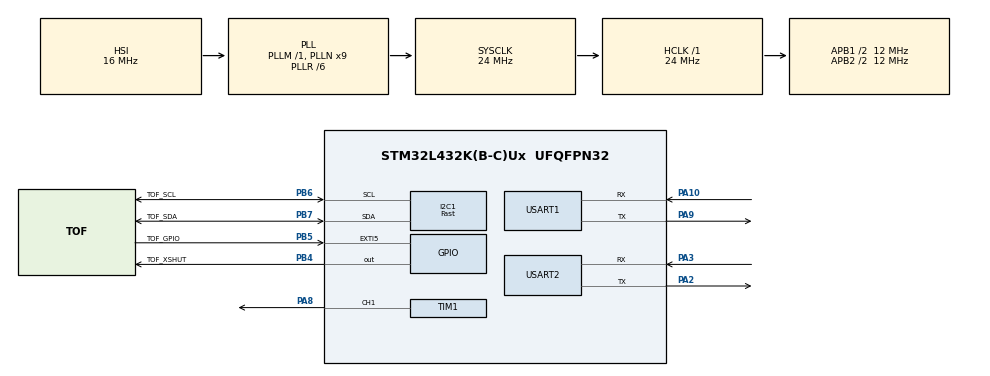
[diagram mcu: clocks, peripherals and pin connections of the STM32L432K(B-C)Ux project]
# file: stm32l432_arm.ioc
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Dma.Request0=USART2_RX
Dma.Request1=USART2_TX
Dma.USART2_RX.0.Direction=DMA_PERIPH_TO_MEMORY
Dma.USART2_RX.0.Instance=DMA1_Channel6
Dma.USART2_RX.0.MemDataAlignment=DMA_MDATAALIGN_BYTE
Dma.USART2_RX.0.MemInc=DMA_MINC_ENABLE
Dma.USART2_RX.0.Mode=DMA_NORMAL
Dma.USART2_RX.0.PeriphDataAlignment=DMA_PDATAALIGN_BYTE
Dma.USART2_RX.0.PeriphInc=DMA_PINC_DISABLE
Dma.USART2_RX.0.Priority=DMA_PRIORITY_MEDIUM
Dma.USART2_TX.1.Direction=DMA_MEMORY_TO_PERIPH
Dma.USART2_TX.1.Instance=DMA1_Channel7
Dma.USART2_TX.1.MemDataAlignment=DMA_MDATAALIGN_BYTE
Dma.USART2_TX.1.MemInc=DMA_MINC_ENABLE
Dma.USART2_TX.1.Mode=DMA_NORMAL
Dma.USART2_TX.1.PeriphDataAlignment=DMA_PDATAALIGN_BYTE
Dma.USART2_TX.1.PeriphInc=DMA_PINC_DISABLE
Dma.USART2_TX.1.Priority=DMA_PRIORITY_MEDIUM
I2C1.I2C_Speed_Mode=I2C_Fast
I2C1.Timing=0x00200410
IWDG.Prescaler=IWDG_PRESCALER_64
IWDG.Reload=3299
IWDG.Window=3299
Mcu.Family=STM32L4
Mcu.Name=STM32L432K(B-C)Ux
Mcu.Package=UFQFPN32
NVIC.DMA1_Channel6_IRQn=true\:0\:0\:false\:false\:true\:false\:true\:true
NVIC.DMA1_Channel7_IRQn=true\:0\:0\:false\:false\:true\:false\:true\:true
NVIC.EXTI9_5_IRQn=true\:0\:0\:false\:false\:true\:true\:true\:true
NVIC.PriorityGroup=NVIC_PRIORITYGROUP_4
NVIC.USART2_IRQn=true\:0\:0\:false\:false\:true\:false\:true\:true
PA10.GPIO_Speed=GPIO_SPEED_FREQ_HIGH
PA10.Mode=Asynchronous
PA10.Signal=USART1_RX
PA13\ (JTMS-SWDIO).Mode=Serial_Wire
PA13\ (JTMS-SWDIO).Signal=SYS_JTMS-SWDIO
PA14\ (JTCK-SWCLK).Mode=Serial_Wire
PA14\ (JTCK-SWCLK).Signal=SYS_JTCK-SWCLK
PA2.GPIO_Speed=GPIO_SPEED_FREQ_HIGH
PA2.Mode=Asynchronous
PA2.Signal=USART2_TX
PA3.GPIO_Speed=GPIO_SPEED_FREQ_HIGH
PA3.Mode=Asynchronous
PA3.Signal=USART2_RX
PA8.Signal=S_TIM1_CH1
PA9.GPIO_Speed=GPIO_SPEED_FREQ_HIGH
PA9.Mode=Asynchronous
PA9.Signal=USART1_TX
PB4\ (NJTRST).GPIO_Label=TOF_XSHUT
PB4\ (NJTRST).Signal=GPIO_Output
PB5.GPIO_Label=TOF_GPIO
PB5.GPIO_ModeDefaultEXTI=GPIO_MODE_IT_FALLING
PB5.GPIO_PuPd=GPIO_PULLUP
PB5.Signal=GPXTI5
PB6.GPIO_FM6=SYSCFG_FASTMODEPLUS_PB6
PB6.GPIO_Label=TOF_SCL
PB6.GPIO_Speed=GPIO_SPEED_FREQ_VERY_HIGH
PB6.Mode=I2C
PB6.Signal=I2C1_SCL
PB7.GPIO_FM7=SYSCFG_FASTMODEPLUS_PB7
PB7.GPIO_Label=TOF_SDA
PB7.Mode=I2C
PB7.Signal=I2C1_SDA
ProjectManager.HeapSize=0x200
ProjectManager.StackSize=0x400
ProjectManager.TargetToolchain=MDK-ARM V5.32
RCC.ADCFreq_Value=64000000
RCC.AHBFreq_Value=24000000
RCC.APB1CLKDivider=RCC_HCLK_DIV2
RCC.APB1Freq_Value=12000000
RCC.APB1TimFreq_Value=24000000
RCC.APB2CLKDivider=RCC_HCLK_DIV2
RCC.APB2Freq_Value=12000000
RCC.APB2TimFreq_Value=24000000
RCC.CortexFreq_Value=24000000
RCC.HCLKFreq_Value=24000000
RCC.HSE_VALUE=8000000
RCC.HSI48_VALUE=48000000
RCC.HSI_VALUE=16000000
RCC.LSE_VALUE=32768
RCC.MSIClockRange=RCC_MSIRANGE_9
RCC.MSI_VALUE=24000000
RCC.PLLN=9
RCC.PLLR=RCC_PLLR_DIV6
RCC.PLLSourceVirtual=RCC_PLLSOURCE_HSI
RCC.SYSCLKFreq_VALUE=24000000
RCC.SYSCLKSource=RCC_SYSCLKSOURCE_PLLCLK
RCC.USBFreq_Value=64000000
RCC.VCOOutputFreq_Value=144000000
SH.S_TIM1_CH1.0=TIM1_CH1,PWM Generation1 CH1
TIM1.Channel-PWM\ Generation1\ CH1=TIM_CHANNEL_1
TIM1.Period=20000
TIM1.Prescaler=23
USART1.VirtualMode-Asynchronous=VM_ASYNC
USART2.VirtualMode-Asynchronous=VM_ASYNC
VP_IWDG_VS_IWDG.Mode=IWDG_Activate
board=custom

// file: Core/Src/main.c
/* USER CODE BEGIN Header */
/**
 ******************************************************************************
 * @file           : main.c
 * @brief          : Main program body
 ******************************************************************************
 * @attention
 *
 * Copyright (c) 2025 STMicroelectronics.
 * All rights reserved.
 *
 * This software is licensed under terms that can be found in the LICENSE file
 * in the root directory of this software component.
 * If no LICENSE file comes with this software, it is provided AS-IS.
 *
 ******************************************************************************
 */
/* USER CODE END Header */
#include "main.h"

/* USER CODE BEGIN Includes */
#include <stdio.h>
#include <string.h>
#include <stdlib.h>
#include <stdbool.h>
#include <math.h>
#include "stm32l4xx.h"

// file for robot arm
#include "bus_servo_driver.h"
#include "kinematic.h"
// file for vl53l1x sensor
#include "vl53l1_platform.h"
#include "VL53L1X_api.h"
#include "filters.h"

/* USER CODE END Includes */

/* USER CODE BEGIN PD */
// define actions received from rasp
#define START_GRIP     (0x30)
#define SEND_DATA      (0x33)
#define NONE           (0x34)
#define RELEASE_OBJECT (0x36)
#define IN_PROGRESS    (0x38)

// define ID data for uart2 (stm <--> rasp)
#define ID_DISTANCE (uint8_t)(0xB1)

/* USER CODE END PD */

I2C_HandleTypeDef hi2c1;

IWDG_HandleTypeDef hiwdg;

TIM_HandleTypeDef htim1;

UART_HandleTypeDef huart1;
UART_HandleTypeDef huart2;
DMA_HandleTypeDef  hdma_usart2_rx;
DMA_HandleTypeDef  hdma_usart2_tx;

void        SystemClock_Config(void);
static void MX_GPIO_Init(void);
static void MX_DMA_Init(void);
static void MX_I2C1_Init(void);
static void MX_TIM1_Init(void);
static void MX_USART1_UART_Init(void);
static void MX_USART2_UART_Init(void);
static void MX_IWDG_Init(void);
/* USER CODE BEGIN PFP */
void compute_target_coordinates(float  t1,
                                float  t2,
                                float  t3,
                                float  t4,
                                float  distance,
                                float *x,
                                float *y,
                                float *z)
{
  t1 = DEG_TO_RAD(t1);
  t2 = DEG_TO_RAD(t2);
  t3 = DEG_TO_RAD(t3);
  t4 = DEG_TO_RAD(t4);

  float temp_x = cosf(t1) * (120 * cosf(t2 + t3 + t4) + 190 * cosf(t2 + t3) + 155 * cosf(t2) + 22) +
                 (distance - 35) * cosf(t1);
  float temp_y = sinf(t1) * (120 * cosf(t2 + t3 + t4) + 190 * cosf(t2 + t3) + 155 * cosf(t2) + 22) +
                 (distance - 35) * sinf(t1);
  float temp_z = 120.0f * sinf(t2 + t3 + t4) + 190.0f * sinf(t2 + t3) + 155.0f * sinf(t2) + 57.45f;

  if (isnan(temp_x) || isnan(temp_y) || isnan(temp_z))
  {
    *x = 380;
    *y = 0;
    *z = 212.45;
  }
  else
  {
    *x = temp_x;
    *y = temp_y;
    *z = temp_z;
  }
}

void compute_target_coordinates_1(float  t1,
                                  float  t2,
                                  float  t3,
                                  float  t4,
                                  float  distance,
                                  float *x_t,
                                  float *y_t,
                                  float *z_t,
                                  float *x_g,
                                  float *y_g,
                                  float *z_g)
{
  t1 = DEG_TO_RAD(t1);
  t2 = DEG_TO_RAD(t2);
  t3 = DEG_TO_RAD(t3);
  t4 = DEG_TO_RAD(t4);

  float X = cosf(t1) * (120 * cosf(t2 + t3 + t4) + 190 * cosf(t2 + t3) + 155 * cosf(t2) + 22);
  float Y = sinf(t1) * (120 * cosf(t2 + t3 + t4) + 190 * cosf(t2 + t3) + 155 * cosf(t2) + 22);
  float Z = 120 * sinf(t2 + t3 + t4) + 190 * sinf(t2 + t3) + 155 * sinf(t2) + 57.45;
  *x_g    = X;
  *y_g    = Y;
  *z_g    = Z;

  float theta = t1;
  float elev  = t2 + t3 + t4;

  float dx = (distance - 25.0f) * cosf(elev) * cosf(theta);
  float dy = (distance - 25.0f) * cosf(elev) * sinf(theta);
  float dz = (distance - 25.0f) * sinf(elev);

  float temp_x = X + dx;
  float temp_y = Y + dy;
  float temp_z = Z + dz;

  if (isnan(temp_x) || isnan(temp_y) || isnan(temp_z))
  {
    *x_t = 380;
    *y_t = 0;
    *z_t = 212.45;
  }
  else
  {
    *x_t = temp_x;
    *y_t = temp_y;
    *z_t = temp_z;
  }
}

uint8_t to_straight_position(void)
{
  struct_result_t p1, p2, p3, p4;

  if (SerialServoReadPosition(&huart1, 1, &p1) != READ_OK)
    return 1;
  if (SerialServoReadPosition(&huart1, 2, &p2) != READ_OK)
    return 2;
  if (SerialServoReadPosition(&huart1, 3, &p3) != READ_OK)
    return 3;
  if (SerialServoReadPosition(&huart1, 4, &p4) != READ_OK)
    return 4;

  float delta1 = fabsf((float)(480 - p1.returned_result));
  float delta2 = fabsf((float)(1000 - p2.returned_result));
  float delta3 = fabsf((float)(0 - p3.returned_result));
  float delta4 = fabsf((float)(500 - p4.returned_result));

  float    max_delta = fmaxf(fmaxf(delta1, delta2), fmaxf(delta3, delta4));
  uint16_t move_time = (uint16_t)(max_delta / 0.18f);
  if (move_time < 1800)
    move_time = 1800;

  if (SerialServoMove(&huart1, 2, 1000, move_time) != SET_OK)
    return 6;
  HAL_Delay(5);
  if (SerialServoMove(&huart1, 3, 0, move_time) != SET_OK)
    return 7;
  HAL_Delay(5);
  if (SerialServoMove(&huart1, 4, 500, move_time) != SET_OK)
    return 8;
  HAL_Delay(5);
  if (SerialServoMove(&huart1, 1, 480, move_time) != SET_OK)
    return 5;
  HAL_Delay(5);

  return 9;
}

uint8_t to_ready_position_1(void)
{
  float           required_moving_time = 0;
  uint16_t        moving_time          = 0;
  struct_result_t position1, position2, position3, position4;

  if (SerialServoReadPosition(&huart1, 3, &position3) != READ_OK)
    return 0;
  required_moving_time = (620 - position3.returned_result) / 0.1;
  moving_time          = convert_to_absolute_int(required_moving_time);
  if (SerialServoMove(&huart1, 3, 620, moving_time) != SET_OK)
    return 2;
  HAL_Delay(moving_time);

  if (SerialServoReadPosition(&huart1, 2, &position2) != READ_OK)
    return 3;
  required_moving_time = (520 - position2.returned_result) / 0.1;
  moving_time          = convert_to_absolute_int(required_moving_time);
  if (SerialServoMove(&huart1, 2, 520, moving_time) != SET_OK)
    return 4;
  HAL_Delay(20);

  if (SerialServoReadPosition(&huart1, 4, &position4) != READ_OK)
    return 5;
  required_moving_time = (450 - position4.returned_result) / 0.1;
  moving_time          = convert_to_absolute_int(required_moving_time);
  if (SerialServoMove(&huart1, 4, 450, moving_time) != SET_OK)
    return 6;
  HAL_Delay(moving_time);

  if (SerialServoReadPosition(&huart1, 1, &position1) != READ_OK)
    return 7;
  required_moving_time = (450 - position1.returned_result) / 0.1;
  moving_time          = convert_to_absolute_int(required_moving_time);
  if (SerialServoMove(&huart1, 1, 450, moving_time) != SET_OK)
    return 8;
  HAL_Delay(moving_time);

  return 1;
}

static inline void open_gripper(void)
{
  __HAL_TIM_SET_COMPARE(&htim1, TIM_CHANNEL_1, 500);
}

static inline void close_gripper(void)
{
  __HAL_TIM_SET_COMPARE(&htim1, TIM_CHANNEL_1, 1580);
}

/**
 * @brief This function process data into a package to transmit
 */
void send_data_with_id(uint8_t id, float value);

/*
return 1: OK
return 0: FAILED
*/
uint8_t to_folded_position(void);

/*
return 1: OK
return 0: FAILED
*/
uint8_t to_ready_position(void);

/*
return 9: OK
return 1 --> 8: FAILED
*/
uint8_t to_home_position(void);

/*
return 9: OK
return 1 --> 8: FAILED
*/
uint8_t to_moving_position(void);

/*
 soft reset system
*/
void soft_reset(void);

/*
 read all joint variables
 return 0: failed (if any joint cannot be read
 return 1: ok
*/
uint8_t read_joint_variables(float    *t1,
                             float    *t2,
                             float    *t3,
                             float    *t4,
                             uint16_t *p1,
                             uint16_t *p2,
                             uint16_t *p3,
                             uint16_t *p4);

/*
 reset vl53l1x
*/
void reset_tof_sensor(void);

/* USER CODE END PFP */

/* USER CODE BEGIN 0 */
// FILE __stdout;
int fputc(int ch, FILE *f)
{
  HAL_UART_Transmit(&huart2, (uint8_t *)&ch, 1, 3000);
  return ch;
}

//========================= variables for robot arm ==========================//
// 4 joint variables and servo positions of robot arm
float    theta_1 = 0;
float    theta_2 = 0;
float    theta_3 = 0;
float    theta_4 = 0;
uint16_t pos1    = 0;
uint16_t pos2    = 0;
uint16_t pos3    = 0;
uint16_t pos4    = 0;

// status of reading joints function
uint8_t read_joints_status = 0;

// coordinates of target
float x_gripper = 0;
float y_gripper = 0;
float z_gripper = 0;
// coordinates of target
float x_target = 0;
float y_target = 0;
float z_target = 0;

//========================= variables for vl53l1x ===========================//
uint8_t  status            = 0;  // common status
uint8_t  range_status      = 0;  // common status
uint16_t measured_distance = 0;
bool     distance_updated  = false;

//======== variables to transmit and receive uart data with raspberry and bus servo ========//
uint8_t          received_data_from_rasp[2];
uint8_t          required_action     = NONE;
bool             request_reset       = false;
volatile uint8_t uart_rasp_done_flag = 0;

//============================= debug variables ===============================//
struct_required_angle_t destination_angle;
uint16_t                retry             = 0;
uint8_t                 read_joint_cnt    = 0;
uint8_t                 read_distance_cnt = 0;
uint8_t                 ready_status      = 20;
struct_range_t          AngleRange;
/* USER CODE END 0 */

int main(void)
{

  /* MCU Configuration--------------------------------------------------------*/

  /* Reset of all peripherals, Initializes the Flash interface and the Systick. */
  HAL_Init();

  /* Configure the system clock */
  SystemClock_Config();

  /* Initialize all configured peripherals */
  MX_GPIO_Init();
  MX_DMA_Init();
  MX_I2C1_Init();
  MX_TIM1_Init();
  MX_USART1_UART_Init();
  MX_USART2_UART_Init();
  // MX_IWDG_Init();
  /* USER CODE BEGIN 2 */
  //==================== initiate timer 1 channel 1 to control gripper ======================//
  HAL_TIM_PWM_Start(&htim1, TIM_CHANNEL_1);
  // test gripper
  open_gripper();
  HAL_Delay(300);
  close_gripper();
  HAL_Delay(300);
  open_gripper();
  HAL_Delay(300);

  //=================== interrupt uart for to receive comamnd from raspberry ================//
  HAL_UARTEx_ReceiveToIdle_DMA(&huart2, received_data_from_rasp, sizeof(received_data_from_rasp));
  __HAL_DMA_DISABLE_IT(&hdma_usart2_rx, DMA_IT_HT);

  //======================= initial actions for sensor and robot arm ========================//
  // VL53L1X init
  vl53l1x_assignI2C(&hi2c1);
  VL53L1__Init();
  VL53L1X_StartRanging(VL53L1__ADDR);

  // return to folded position
  to_folded_position();
  //	HAL_Delay(5000);
  //	SerialServoReadAngleRange(&huart1, 2, &AngleRange);

  /* USER CODE END 2 */

  /* Infinite loop */
  while (1)
  {

    /* USER CODE BEGIN 3 */
    //============================== CONTROL ROBOT ARM ====================================//
    // if raspberry request srm reset itself
    if (request_reset == true)
      soft_reset();

    // if raspberry asks distance value
    if (required_action == SEND_DATA)
    {
      send_data_with_id(ID_DISTANCE, measured_distance);
      required_action = NONE;
    }

    // if raspberry request to release object
    else if (required_action == RELEASE_OBJECT)
    {
      static uint8_t  release_state = 0;
      static uint32_t release_time  = 0;
      switch (release_state)
      {
      case 0:
        to_home_position();
        release_time  = HAL_GetTick();
        release_state = 1;
        break;

      case 1:
        if (HAL_GetTick() - release_time >= 2300)
        {
          open_gripper();
          release_time  = HAL_GetTick();
          release_state = 2;
        }
        break;

      case 2:
        if (HAL_GetTick() - release_time >= 20)
        {
          uint8_t buffer[2] = {0xCC, 0x04};
          HAL_UART_Transmit_DMA(&huart2, buffer, sizeof(buffer));
          to_folded_position();
          required_action = NONE;
          release_state   = 0;  // reset
        }
        break;
      }
    }

    // if raspberry request to grip object (from folded position)
    else if (required_action == START_GRIP)
    {
      static uint32_t grip_start_time = 0;
      static uint8_t  grip_state      = 0;
      if (grip_state == 0)
      {
        open_gripper();
        ready_status = to_ready_position();
        // ready_status = to_ready_position_1();
        grip_start_time = HAL_GetTick();
        grip_state      = 1;
      }
      if (grip_state == 1)
      {
        if (HAL_GetTick() - grip_start_time >= 4800)
        {
          grip_start_time = HAL_GetTick();
          grip_state      = 2;
        }
      }
      if (grip_state == 2)
      {
        if (HAL_GetTick() - grip_start_time >= 200)
        {
          required_action = IN_PROGRESS;
          grip_state      = 0;
        }
      }
    }

    // robot arm is processing, and will inform result to raspberry
    else if (required_action == IN_PROGRESS)
    {
      static uint8_t  in_progress_state = 0;
      static uint32_t in_progress_time  = 0;

      switch (in_progress_state)
      {
      case 0:
        in_progress_time   = HAL_GetTick();
        retry              = 0;
        read_joint_cnt     = 0;
        read_distance_cnt  = 0;
        read_joints_status = 0;
        in_progress_state  = 1;
        break;
      case 1:
        if (read_joints_status == 0)
        {
          read_joints_status =
            read_joint_variables(&theta_1, &theta_2, &theta_3, &theta_4, &pos1, &pos2, &pos3, &pos4);
          read_joint_cnt++;
        }
        if ((read_joints_status == 1) && distance_updated)
        {
          read_distance_cnt++;
          distance_updated = false;
          if ((measured_distance >= 15) && (measured_distance <= 215))
          {
            compute_target_coordinates(theta_1,
                                       theta_2,
                                       theta_3,
                                       theta_4,
                                       measured_distance,
                                       &x_target,
                                       &y_target,
                                       &z_target);
            // compute_target_coordinates_1(theta_1, theta_2, theta_3, theta_4, measured_distance, &x_target,
            // &y_target, &z_target, &x_gripper, &y_gripper, &z_gripper);
            if ((x_target >= 225) && (x_target <= 460) && (y_target >= -65) && (y_target <= 65) &&
                (z_target >= -130) && (z_target <= 250))
            {
              inverse_kinematic(x_target, y_target, z_target, pos1, pos2, pos3, pos4, &destination_angle);
              // inverse(x_target, y_target, z_target, theta_2, theta_3, theta_4, &destination_angle);
              in_progress_time  = HAL_GetTick();
              in_progress_state = 2;
            }
          }
        }
        if (HAL_GetTick() - in_progress_time > 5500)
        {
          if (read_joint_cnt >= 10)
          {
            uint8_t buffer[2] = {0xCC, 0x02};  // inform to rasp: cannot read joints
            HAL_UART_Transmit_DMA(&huart2, buffer, sizeof(buffer));
          }
          if (read_distance_cnt >= 10)
          {
            uint8_t buffer[2] = {0xCC, 0x03};  // inform to rasp: cannot read distance or it is invalid
            HAL_UART_Transmit_DMA(&huart2, buffer, sizeof(buffer));
          }
          required_action = NONE;
          to_folded_position();
          in_progress_state  = 0;
          read_joints_status = 0;
          read_joint_cnt     = 0;
          read_distance_cnt  = 0;
          // soft_reset();
        }
        break;
      case 2:
        if (HAL_GetTick() - in_progress_time >= 20)
        {
          close_gripper();
          in_progress_time  = HAL_GetTick();
          in_progress_state = 3;
        }
        break;
      case 3:
        if (HAL_GetTick() - in_progress_time >= 250)
        {
          to_moving_position();
          // to_straight_position();

          // inform to rasp that processing done, continue to move
          uint8_t buffer[2] = {0xCC, 0x01};
          HAL_UART_Transmit_DMA(&huart2, buffer, sizeof(buffer));
          // reset all variables
          required_action    = NONE;
          in_progress_state  = 0;
          read_joints_status = 0;
          read_joint_cnt     = 0;
          read_distance_cnt  = 0;
        }
        break;
      }
    }

    // reset indepedent window watchdog timer (timeout = 4.5s)
    // HAL_IWDG_Refresh(&hiwdg);
  }
  /* USER CODE END 3 */
}

void SystemClock_Config(void)
{
  RCC_OscInitTypeDef RCC_OscInitStruct = {0};
  RCC_ClkInitTypeDef RCC_ClkInitStruct = {0};

  /** Configure the main internal regulator output voltage
   */
  if (HAL_PWREx_ControlVoltageScaling(PWR_REGULATOR_VOLTAGE_SCALE1) != HAL_OK)
  {
    Error_Handler();
  }

  /** Initializes the RCC Oscillators according to the specified parameters
   * in the RCC_OscInitTypeDef structure.
   */
  RCC_OscInitStruct.OscillatorType      = RCC_OSCILLATORTYPE_HSI | RCC_OSCILLATORTYPE_LSI;
  RCC_OscInitStruct.HSIState            = RCC_HSI_ON;
  RCC_OscInitStruct.HSICalibrationValue = RCC_HSICALIBRATION_DEFAULT;
  RCC_OscInitStruct.LSIState            = RCC_LSI_ON;
  RCC_OscInitStruct.PLL.PLLState        = RCC_PLL_ON;
  RCC_OscInitStruct.PLL.PLLSource       = RCC_PLLSOURCE_HSI;
  RCC_OscInitStruct.PLL.PLLM            = 1;
  RCC_OscInitStruct.PLL.PLLN            = 9;
  RCC_OscInitStruct.PLL.PLLP            = RCC_PLLP_DIV7;
  RCC_OscInitStruct.PLL.PLLQ            = RCC_PLLQ_DIV2;
  RCC_OscInitStruct.PLL.PLLR            = RCC_PLLR_DIV6;
  if (HAL_RCC_OscConfig(&RCC_OscInitStruct) != HAL_OK)
  {
    Error_Handler();
  }

  /** Initializes the CPU, AHB and APB buses clocks
   */
  RCC_ClkInitStruct.ClockType =
    RCC_CLOCKTYPE_HCLK | RCC_CLOCKTYPE_SYSCLK | RCC_CLOCKTYPE_PCLK1 | RCC_CLOCKTYPE_PCLK2;
  RCC_ClkInitStruct.SYSCLKSource   = RCC_SYSCLKSOURCE_PLLCLK;
  RCC_ClkInitStruct.AHBCLKDivider  = RCC_SYSCLK_DIV1;
  RCC_ClkInitStruct.APB1CLKDivider = RCC_HCLK_DIV2;
  RCC_ClkInitStruct.APB2CLKDivider = RCC_HCLK_DIV2;

  if (HAL_RCC_ClockConfig(&RCC_ClkInitStruct, FLASH_LATENCY_1) != HAL_OK)
  {
    Error_Handler();
  }
}

static void MX_I2C1_Init(void)
{

  hi2c1.Instance              = I2C1;
  hi2c1.Init.Timing           = 0x00200410;
  hi2c1.Init.OwnAddress1      = 0;
  hi2c1.Init.AddressingMode   = I2C_ADDRESSINGMODE_7BIT;
  hi2c1.Init.DualAddressMode  = I2C_DUALADDRESS_DISABLE;
  hi2c1.Init.OwnAddress2      = 0;
  hi2c1.Init.OwnAddress2Masks = I2C_OA2_NOMASK;
  hi2c1.Init.GeneralCallMode  = I2C_GENERALCALL_DISABLE;
  hi2c1.Init.NoStretchMode    = I2C_NOSTRETCH_DISABLE;
  if (HAL_I2C_Init(&hi2c1) != HAL_OK)
  {
    Error_Handler();
  }

  /** Configure Analogue filter
   */
  if (HAL_I2CEx_ConfigAnalogFilter(&hi2c1, I2C_ANALOGFILTER_ENABLE) != HAL_OK)
  {
    Error_Handler();
  }

  /** Configure Digital filter
   */
  if (HAL_I2CEx_ConfigDigitalFilter(&hi2c1, 0) != HAL_OK)
  {
    Error_Handler();
  }
}

static void MX_IWDG_Init(void)
{

  hiwdg.Instance       = IWDG;
  hiwdg.Init.Prescaler = IWDG_PRESCALER_64;
  hiwdg.Init.Window    = 3299;
  hiwdg.Init.Reload    = 3299;
  if (HAL_IWDG_Init(&hiwdg) != HAL_OK)
  {
    Error_Handler();
  }
}

static void MX_TIM1_Init(void)
{

  TIM_MasterConfigTypeDef        sMasterConfig        = {0};
  TIM_OC_InitTypeDef             sConfigOC            = {0};
  TIM_BreakDeadTimeConfigTypeDef sBreakDeadTimeConfig = {0};

  htim1.Instance               = TIM1;
  htim1.Init.Prescaler         = 23;
  htim1.Init.CounterMode       = TIM_COUNTERMODE_UP;
  htim1.Init.Period            = 20000;
  htim1.Init.ClockDivision     = TIM_CLOCKDIVISION_DIV1;
  htim1.Init.RepetitionCounter = 0;
  htim1.Init.AutoReloadPreload = TIM_AUTORELOAD_PRELOAD_DISABLE;
  if (HAL_TIM_PWM_Init(&htim1) != HAL_OK)
  {
    Error_Handler();
  }
  sMasterConfig.MasterOutputTrigger  = TIM_TRGO_RESET;
  sMasterConfig.MasterOutputTrigger2 = TIM_TRGO2_RESET;
  sMasterConfig.MasterSlaveMode      = TIM_MASTERSLAVEMODE_DISABLE;
  if (HAL_TIMEx_MasterConfigSynchronization(&htim1, &sMasterConfig) != HAL_OK)
  {
    Error_Handler();
  }
  sConfigOC.OCMode       = TIM_OCMODE_PWM1;
  sConfigOC.Pulse        = 0;
  sConfigOC.OCPolarity   = TIM_OCPOLARITY_HIGH;
  sConfigOC.OCNPolarity  = TIM_OCNPOLARITY_HIGH;
  sConfigOC.OCFastMode   = TIM_OCFAST_DISABLE;
  sConfigOC.OCIdleState  = TIM_OCIDLESTATE_RESET;
  sConfigOC.OCNIdleState = TIM_OCNIDLESTATE_RESET;
  if (HAL_TIM_PWM_ConfigChannel(&htim1, &sConfigOC, TIM_CHANNEL_1) != HAL_OK)
  {
    Error_Handler();
  }
  sBreakDeadTimeConfig.OffStateRunMode  = TIM_OSSR_DISABLE;
  sBreakDeadTimeConfig.OffStateIDLEMode = TIM_OSSI_DISABLE;
  sBreakDeadTimeConfig.LockLevel        = TIM_LOCKLEVEL_OFF;
  sBreakDeadTimeConfig.DeadTime         = 0;
  sBreakDeadTimeConfig.BreakState       = TIM_BREAK_DISABLE;
  sBreakDeadTimeConfig.BreakPolarity    = TIM_BREAKPOLARITY_HIGH;
  sBreakDeadTimeConfig.BreakFilter      = 0;
  sBreakDeadTimeConfig.Break2State      = TIM_BREAK2_DISABLE;
  sBreakDeadTimeConfig.Break2Polarity   = TIM_BREAK2POLARITY_HIGH;
  sBreakDeadTimeConfig.Break2Filter     = 0;
  sBreakDeadTimeConfig.AutomaticOutput  = TIM_AUTOMATICOUTPUT_DISABLE;
  if (HAL_TIMEx_ConfigBreakDeadTime(&htim1, &sBreakDeadTimeConfig) != HAL_OK)
  {
    Error_Handler();
  }
  HAL_TIM_MspPostInit(&htim1);
}

static void MX_USART1_UART_Init(void)
{

  huart1.Instance                    = USART1;
  huart1.Init.BaudRate               = 115200;
  huart1.Init.WordLength             = UART_WORDLENGTH_8B;
  huart1.Init.StopBits               = UART_STOPBITS_1;
  huart1.Init.Parity                 = UART_PARITY_NONE;
  huart1.Init.Mode                   = UART_MODE_TX_RX;
  huart1.Init.HwFlowCtl              = UART_HWCONTROL_NONE;
  huart1.Init.OverSampling           = UART_OVERSAMPLING_16;
  huart1.Init.OneBitSampling         = UART_ONE_BIT_SAMPLE_DISABLE;
  huart1.AdvancedInit.AdvFeatureInit = UART_ADVFEATURE_NO_INIT;
  if (HAL_UART_Init(&huart1) != HAL_OK)
  {
    Error_Handler();
  }
}

static void MX_USART2_UART_Init(void)
{

  huart2.Instance                    = USART2;
  huart2.Init.BaudRate               = 115200;
  huart2.Init.WordLength             = UART_WORDLENGTH_8B;
  huart2.Init.StopBits               = UART_STOPBITS_1;
  huart2.Init.Parity                 = UART_PARITY_NONE;
  huart2.Init.Mode                   = UART_MODE_TX_RX;
  huart2.Init.HwFlowCtl              = UART_HWCONTROL_NONE;
  huart2.Init.OverSampling           = UART_OVERSAMPLING_16;
  huart2.Init.OneBitSampling         = UART_ONE_BIT_SAMPLE_DISABLE;
  huart2.AdvancedInit.AdvFeatureInit = UART_ADVFEATURE_NO_INIT;
  if (HAL_UART_Init(&huart2) != HAL_OK)
  {
    Error_Handler();
  }
}

static void MX_DMA_Init(void)
{

  /* DMA controller clock enable */
  __HAL_RCC_DMA1_CLK_ENABLE();

  /* DMA interrupt init */
  /* DMA1_Channel6_IRQn interrupt configuration */
  HAL_NVIC_SetPriority(DMA1_Channel6_IRQn, 0, 0);
  HAL_NVIC_EnableIRQ(DMA1_Channel6_IRQn);
  /* DMA1_Channel7_IRQn interrupt configuration */
  HAL_NVIC_SetPriority(DMA1_Channel7_IRQn, 0, 0);
  HAL_NVIC_EnableIRQ(DMA1_Channel7_IRQn);
}

static void MX_GPIO_Init(void)
{
  GPIO_InitTypeDef GPIO_InitStruct = {0};

  /* GPIO Ports Clock Enable */
  __HAL_RCC_GPIOC_CLK_ENABLE();
  __HAL_RCC_GPIOA_CLK_ENABLE();
  __HAL_RCC_GPIOB_CLK_ENABLE();
  __HAL_RCC_GPIOH_CLK_ENABLE();

  /*Configure GPIO pin Output Level */
  HAL_GPIO_WritePin(TOF_XSHUT_GPIO_Port, TOF_XSHUT_Pin, GPIO_PIN_RESET);

  /*Configure GPIO pins : PC14 PC15 */
  GPIO_InitStruct.Pin  = GPIO_PIN_14 | GPIO_PIN_15;
  GPIO_InitStruct.Mode = GPIO_MODE_ANALOG;
  GPIO_InitStruct.Pull = GPIO_NOPULL;
  HAL_GPIO_Init(GPIOC, &GPIO_InitStruct);

  /*Configure GPIO pins : PA0 PA1 PA4 PA5
                           PA6 PA7 PA11 PA12
                           PA15 */
  GPIO_InitStruct.Pin = GPIO_PIN_0 | GPIO_PIN_1 | GPIO_PIN_4 | GPIO_PIN_5 | GPIO_PIN_6 | GPIO_PIN_7 |
                        GPIO_PIN_11 | GPIO_PIN_12 | GPIO_PIN_15;
  GPIO_InitStruct.Mode = GPIO_MODE_ANALOG;
  GPIO_InitStruct.Pull = GPIO_NOPULL;
  HAL_GPIO_Init(GPIOA, &GPIO_InitStruct);

  /*Configure GPIO pins : PB0 PB1 PB3 */
  GPIO_InitStruct.Pin  = GPIO_PIN_0 | GPIO_PIN_1 | GPIO_PIN_3;
  GPIO_InitStruct.Mode = GPIO_MODE_ANALOG;
  GPIO_InitStruct.Pull = GPIO_NOPULL;
  HAL_GPIO_Init(GPIOB, &GPIO_InitStruct);

  /*Configure GPIO pin : TOF_XSHUT_Pin */
  GPIO_InitStruct.Pin   = TOF_XSHUT_Pin;
  GPIO_InitStruct.Mode  = GPIO_MODE_OUTPUT_PP;
  GPIO_InitStruct.Pull  = GPIO_NOPULL;
  GPIO_InitStruct.Speed = GPIO_SPEED_FREQ_LOW;
  HAL_GPIO_Init(TOF_XSHUT_GPIO_Port, &GPIO_InitStruct);

  /*Configure GPIO pin : TOF_GPIO_Pin */
  GPIO_InitStruct.Pin  = TOF_GPIO_Pin;
  GPIO_InitStruct.Mode = GPIO_MODE_IT_FALLING;
  GPIO_InitStruct.Pull = GPIO_PULLUP;
  HAL_GPIO_Init(TOF_GPIO_GPIO_Port, &GPIO_InitStruct);

  /*Configure GPIO pin : PH3 */
  GPIO_InitStruct.Pin  = GPIO_PIN_3;
  GPIO_InitStruct.Mode = GPIO_MODE_ANALOG;
  GPIO_InitStruct.Pull = GPIO_NOPULL;
  HAL_GPIO_Init(GPIOH, &GPIO_InitStruct);

  /* EXTI interrupt init*/
  HAL_NVIC_SetPriority(EXTI9_5_IRQn, 0, 0);
  HAL_NVIC_EnableIRQ(EXTI9_5_IRQn);

}

/* USER CODE BEGIN 4 */
/**
 * @brief This function handles EXTI line[9:5] interrupts. Using this function to read signal from interrupt
 * pin of sensor
 */
void EXTI9_5_IRQHandler(void)
{
  status |= VL53L1X_GetRangeStatus(VL53L1__ADDR, &range_status);
  if (range_status > VL53L1__RANGE_STATUS_THRESH)  // VL53L1__RANGE_STATUS_THRESH
  {
    status |= VL53L1X_ClearInterrupt(
      VL53L1__ADDR);  // non acceptable range status, reset for a new ranging notification
  }
  else
  {
    status |= VL53L1X_GetDistance(VL53L1__ADDR, &measured_distance);
    distance_updated = true;
    status |= VL53L1X_ClearInterrupt(VL53L1__ADDR);  // Everything read. Restart interrupt
  }
  HAL_GPIO_EXTI_IRQHandler(TOF_GPIO_Pin);
}

/**
 * @brief This function handles data from higher board, which reads camera, to decide the next action for
 * robot arm.
 */
void HAL_UARTEx_RxEventCallback(UART_HandleTypeDef *huart, uint16_t Size)
{
  if (huart->Instance == USART2)
  {
    switch (received_data_from_rasp[0])
    {
    case 0xBB:
      if (Size == 2)
      {
        switch (received_data_from_rasp[1])
        {
        case 0x04:
          required_action = SEND_DATA;
          break;
        case 0x05:
          required_action = START_GRIP;
          break;
        case 0x06:
          required_action = RELEASE_OBJECT;
          break;
        }
        break;
      }
    case 0xFF:
      request_reset = true;
      break;
    default:
      break;
    }

    HAL_UARTEx_ReceiveToIdle_DMA(&huart2, received_data_from_rasp, sizeof(received_data_from_rasp));
    __HAL_DMA_DISABLE_IT(&hdma_usart2_rx, DMA_IT_HT);
  }
}

void HAL_UART_ErrorCallback(UART_HandleTypeDef *huart)
{
  if (huart->Instance == USART2)
  {
    __HAL_UART_CLEAR_OREFLAG(huart);
    __HAL_UART_CLEAR_FEFLAG(huart);
    __HAL_UART_CLEAR_NEFLAG(huart);
    HAL_UARTEx_ReceiveToIdle_DMA(&huart2, received_data_from_rasp, sizeof(received_data_from_rasp));
    __HAL_DMA_DISABLE_IT(&hdma_usart2_rx, DMA_IT_HT);
  }
}

/**
 * @brief This function handles USART transmit DMA complete
 */
void HAL_UART_TxCpltCallback(UART_HandleTypeDef *huart)
{
  if (huart->Instance == USART1)
  {
    // uart communicate with bus servo
  }
  if (huart->Instance == USART2)
  {
    // uart communicate with raspberry
    uart_rasp_done_flag = 1;
  }
}

uint8_t to_folded_position(void)
{
  struct_result_t p1, p2, p3, p4;

  if (SerialServoReadPosition(&huart1, 1, &p1) != READ_OK)
    return 1;
  if (SerialServoReadPosition(&huart1, 2, &p2) != READ_OK)
    return 2;
  if (SerialServoReadPosition(&huart1, 3, &p3) != READ_OK)
    return 3;
  if (SerialServoReadPosition(&huart1, 4, &p4) != READ_OK)
    return 4;

  float time1 = fabsf((float)(855 - p1.returned_result)) / 0.15f;
  float time2 = fabsf((float)(275 - p2.returned_result)) / 0.15f;
  float time3 = fabsf((float)(750 - p3.returned_result)) / 0.15f;
  float time4 = fabsf((float)(500 - p4.returned_result)) / 0.15f;

  if (SerialServoMove(&huart1, 1, 855, (uint16_t)time1) != SET_OK)
    return 5;
  HAL_Delay((uint16_t)time1);
  if (SerialServoMove(&huart1, 2, 275, (uint16_t)time2) != SET_OK)
    return 6;
  HAL_Delay((uint16_t)time2);
  if (SerialServoMove(&huart1, 4, 500, (uint16_t)time4) != SET_OK)
    return 8;
  HAL_Delay((uint16_t)time4);
  if (SerialServoMove(&huart1, 3, 750, (uint16_t)time3) != SET_OK)
    return 7;
  HAL_Delay((uint16_t)time3);

  return 9;
}

uint8_t to_ready_position(void)
{
  struct_result_t p1, p2, p3, p4;

  if (SerialServoReadPosition(&huart1, 1, &p1) != READ_OK)
    return 1;
  if (SerialServoReadPosition(&huart1, 2, &p2) != READ_OK)
    return 2;
  if (SerialServoReadPosition(&huart1, 3, &p3) != READ_OK)
    return 3;
  if (SerialServoReadPosition(&huart1, 4, &p4) != READ_OK)
    return 4;

  float delta1 = fabsf((float)(450 - p1.returned_result));
  float delta2 = fabsf((float)(854 - p2.returned_result));
  float delta3 = fabsf((float)(500 - p3.returned_result));
  float delta4 = fabsf((float)(854 - p4.returned_result));

  float    max_delta = fmaxf(fmaxf(delta1, delta2), fmaxf(delta3, delta4));
  uint16_t move_time = (uint16_t)(max_delta / 0.18f);
  if (move_time < 1500)
    move_time = 1500;

  if (SerialServoMove(&huart1, 3, 500, move_time) != SET_OK)
    return 6;
  HAL_Delay(25);
  if (SerialServoMove(&huart1, 4, 854, move_time) != SET_OK)
    return 8;
  HAL_Delay(25);
  if (SerialServoMove(&huart1, 2, 854, move_time) != SET_OK)
    return 7;
  HAL_Delay(20);
  if (SerialServoMove(&huart1, 1, 450, move_time) != SET_OK)
    return 5;
  HAL_Delay(20);

  //  if (SerialServoMove(&huart1, 3, 500, move_time) != SET_OK)
  //    return 6;
  //	HAL_Delay(20);
  //	if (SerialServoMove(&huart1, 4, 800, move_time) != SET_OK)
  //    return 8;
  //	HAL_Delay(20);
  //  if (SerialServoMove(&huart1, 2, 800, move_time) != SET_OK)
  //    return 7;
  //	HAL_Delay(20);
  //  if (SerialServoMove(&huart1, 1, 450, move_time) != SET_OK)
  //    return 5;
  //	HAL_Delay(20);

  //	if (SerialServoMove(&huart1, 3, 417, move_time) != SET_OK)
  //    return 6;
  //	HAL_Delay(20);
  //	if (SerialServoMove(&huart1, 4, 791, move_time) != SET_OK)
  //    return 8;
  //	HAL_Delay(20);
  //  if (SerialServoMove(&huart1, 2, 875, move_time) != SET_OK)
  //    return 7;
  //	HAL_Delay(20);
  //  if (SerialServoMove(&huart1, 1, 450, move_time) != SET_OK)
  //    return 5;
  //	HAL_Delay(20);

  return 9;
}

uint8_t to_home_position(void)
{
  struct_result_t p1, p2, p3, p4;

  if (SerialServoReadPosition(&huart1, 1, &p1) != READ_OK)
    return 1;
  if (SerialServoReadPosition(&huart1, 2, &p2) != READ_OK)
    return 2;
  if (SerialServoReadPosition(&huart1, 3, &p3) != READ_OK)
    return 3;
  if (SerialServoReadPosition(&huart1, 4, &p4) != READ_OK)
    return 4;

  float delta1 = fabsf((float)(480 - p1.returned_result));
  float delta2 = fabsf((float)(625 - p2.returned_result));
  float delta3 = fabsf((float)(375 - p3.returned_result));
  float delta4 = fabsf((float)(500 - p4.returned_result));

  float    max_delta = fmaxf(fmaxf(delta1, delta2), fmaxf(delta3, delta4));
  uint16_t move_time = (uint16_t)(max_delta / 0.18f);
  if (move_time < 1800)
    move_time = 1800;

  if (SerialServoMove(&huart1, 2, 625, move_time) != SET_OK)
    return 6;
  HAL_Delay(5);
  if (SerialServoMove(&huart1, 3, 375, move_time) != SET_OK)
    return 7;
  HAL_Delay(5);
  if (SerialServoMove(&huart1, 4, 500, move_time) != SET_OK)
    return 8;
  HAL_Delay(5);
  if (SerialServoMove(&huart1, 1, 480, move_time) != SET_OK)
    return 5;
  HAL_Delay(5);

  return 9;
}

uint8_t to_moving_position(void)
{
  struct_result_t p1, p2, p3, p4;

  // if (SerialServoReadPosition(&huart1, 2, &p2) != READ_OK) return 1;
  if (SerialServoMove(&huart1, 2, 525, 1500) != SET_OK)
    return 2;
  HAL_Delay(10);

  if (SerialServoReadPosition(&huart1, 1, &p1) != READ_OK)
    return 3;
  if (SerialServoReadPosition(&huart1, 2, &p2) != READ_OK)
    return 4;
  if (SerialServoReadPosition(&huart1, 3, &p3) != READ_OK)
    return 5;
  if (SerialServoReadPosition(&huart1, 4, &p4) != READ_OK)
    return 6;

  float delta1 = fabsf((float)(835 - p1.returned_result));
  float delta2 = fabsf((float)(310 - p2.returned_result));
  float delta3 = fabsf((float)(480 - p3.returned_result));
  float delta4 = fabsf((float)(265 - p4.returned_result));

  float    max_delta = fmaxf(fmaxf(delta1, delta2), fmaxf(delta3, delta4));
  uint16_t move_time = (uint16_t)(max_delta / 0.18f);
  if (move_time < 1500)
    move_time = 1500;

  if (SerialServoMove(&huart1, 1, 835, move_time) != SET_OK)
    return 7;
  HAL_Delay(15);
  if (SerialServoMove(&huart1, 2, 310, move_time) != SET_OK)
    return 8;
  HAL_Delay(15);
  if (SerialServoMove(&huart1, 3, 480, move_time) != SET_OK)
    return 10;
  HAL_Delay(15);
  if (SerialServoMove(&huart1, 4, 265, move_time) != SET_OK)
    return 11;
  HAL_Delay(15);

  return 9;
}

void soft_reset(void)
{
  NVIC_SystemReset();
}

uint8_t read_joint_variables(float    *t1,
                             float    *t2,
                             float    *t3,
                             float    *t4,
                             uint16_t *p1,
                             uint16_t *p2,
                             uint16_t *p3,
                             uint16_t *p4)
{
  uint8_t         servo_id = 0;
  struct_result_t position1, position2, position3, position4;

  servo_id = 1;
  if (SerialServoReadPosition(&huart1, servo_id, &position1) == READ_OK)
  {
    *t1 = ((float)(position1.returned_result - 480)) * 0.24f;  // 480 is center
    *p1 = (uint16_t)position1.returned_result;
  }
  else
    return 0;
  HAL_Delay(3);

  servo_id = 2;
  if (SerialServoReadPosition(&huart1, servo_id, &position2) == READ_OK)
  {
    if (position2.returned_result >= 1000)
      *t2 = 0.0f;
    else
      *t2 = -((float)(position2.returned_result - 1000)) * 0.24f;
    *p2 = (uint16_t)position2.returned_result;
  }
  else
    return 0;
  HAL_Delay(3);

  servo_id = 3;
  if (SerialServoReadPosition(&huart1, servo_id, &position3) == READ_OK)
  {
    if (position3.returned_result <= 0)
      *t3 = 0.0f;
    else
      *t3 = -((float)(position3.returned_result)) * 0.24f;
    *p3 = (uint16_t)position3.returned_result;
  }
  else
    return 0;
  HAL_Delay(3);

  servo_id = 4;
  if (SerialServoReadPosition(&huart1, servo_id, &position4) == READ_OK)
  {
    *t4 = ((float)(position4.returned_result - 500)) * 0.24f;  // 500 is center
    *p4 = (uint16_t)position4.returned_result;
  }
  else
    return 0;

  return 1;
}

void send_data_with_id(uint8_t id, float value)
{
  uint8_t packet[6];

  memset(packet, 0, sizeof(packet));
  packet[0] = id;
  memcpy(&packet[1], &value, sizeof(float));

  uint8_t sum = 0;
  for (int i = 0; i < 5; i++)
    sum += packet[i];
  packet[5] = ~sum;

  HAL_UART_Transmit_DMA(&huart2, packet, sizeof(packet));
}

void reset_tof_sensor(void)
{
  HAL_GPIO_WritePin(TOF_XSHUT_GPIO_Port, TOF_XSHUT_Pin, GPIO_PIN_RESET);
  HAL_Delay(5);  // Giữ thấp ít nhất 1ms
}

/* USER CODE END 4 */

void Error_Handler(void)
{
  __disable_irq();
  while (1)
  {
  }
}
